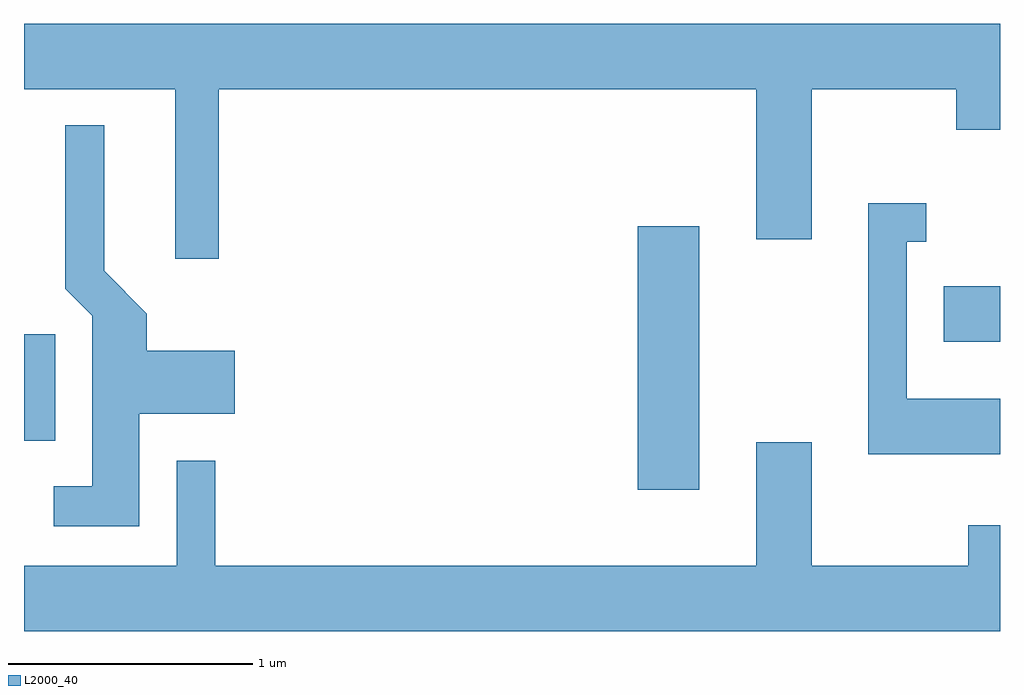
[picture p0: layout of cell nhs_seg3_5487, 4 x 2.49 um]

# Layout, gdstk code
import gdstk
lib = gdstk.Library(unit=1e-6, precision=1e-09)
def R(c, l, rs):  # rectangles x0, y0, x1, y1
    for r in rs: c.add(gdstk.rectangle(r[:2], r[2:], *l))
def P(c, l, *ps):  # polygons
    for p in ps: c.add(gdstk.Polygon(p, *l))
L2000_40 = (2000, 40)

nhs_seg3_5487 = lib.new_cell('nhs_seg3_5487')
R(nhs_seg3_5487, L2000_40, [(348.126,1219.836,348.379,1220.914), (345.611,1220.036,345.739,1220.473), (349.381,1220.441,349.611,1220.669)])
P(nhs_seg3_5487, L2000_40, [(346.409,1221.476),(348.611,1221.476),(348.611,1220.861),(348.839,1220.861),(348.839,1221.476),(349.431,1221.476),(349.431,1221.311),(349.611,1221.311),(349.611,1221.744),(345.611,1221.744),(345.611,1221.476),(346.231,1221.476),(346.231,1220.781),(346.409,1220.781)],
  [(346.084,1220.146),(346.474,1220.146),(346.474,1220.404),(346.114,1220.404),(346.114,1220.557),(345.939,1220.732),(345.939,1221.328),(345.781,1221.328),(345.781,1220.659),(345.891,1220.549),(345.891,1219.849),(345.733,1219.849),(345.733,1219.686),(346.084,1219.686)],
  [(349.611,1220.209),(349.229,1220.209),(349.229,1220.851),(349.308,1220.851),(349.308,1221.009),(349.071,1221.009),(349.071,1219.981),(349.611,1219.981)],
  [(349.611,1219.689),(349.481,1219.689),(349.481,1219.524),(348.839,1219.524),(348.839,1220.029),(348.611,1220.029),(348.611,1219.524),(346.394,1219.524),(346.394,1219.953),(346.236,1219.953),(346.236,1219.524),(345.611,1219.524),(345.611,1219.256),(349.611,1219.256)])

lib.write_gds('nhs_seg3_5487.gds')
